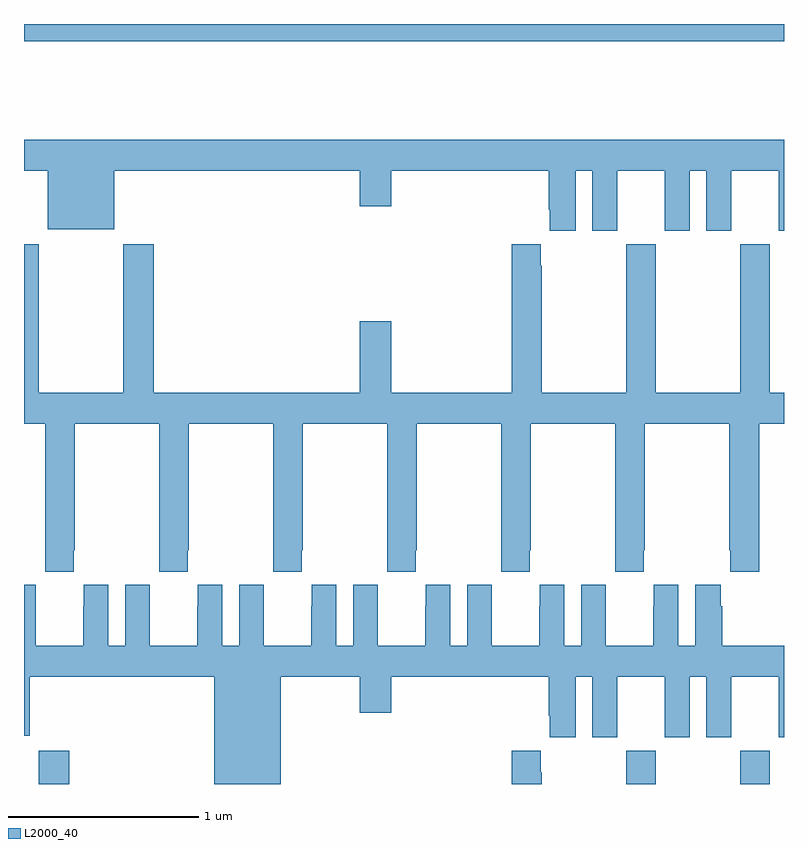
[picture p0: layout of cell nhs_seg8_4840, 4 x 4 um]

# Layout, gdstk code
import gdstk
lib = gdstk.Library(unit=1e-6, precision=1e-09)
def R(c, l, rs):  # rectangles x0, y0, x1, y1
    for r in rs: c.add(gdstk.rectangle(r[:2], r[2:], *l))
def P(c, l, *ps):  # polygons
    for p in ps: c.add(gdstk.Polygon(p, *l))
L2000_40 = (2000, 40)

nhs_seg8_4840 = lib.new_cell('nhs_seg8_4840')
R(nhs_seg8_4840, L2000_40, [(403.078,1151.9,403.238,1152.076), (406.171,1151.9,406.326,1152.076), (406.771,1151.9,406.926,1152.076), (403,1155.808,407,1155.9)])
P(nhs_seg8_4840, L2000_40, [(405.904,1155.128),(405.992,1155.128),(405.992,1154.811),(406.123,1154.811),(406.123,1155.128),(406.373,1155.128),(406.373,1154.811),(406.504,1154.811),(406.504,1155.128),(406.592,1155.128),(406.592,1154.811),(406.723,1154.811),(406.723,1155.128),(406.973,1155.128),(406.973,1154.811),(407,1154.811),(407,1155.292),(403,1155.292),(403,1155.128),(403.124,1155.128),(403.124,1154.819),(403.474,1154.819),(403.474,1155.128),(404.768,1155.128),(404.768,1154.94),(404.932,1154.94),(404.932,1155.128),(405.761,1155.128),(405.761,1154.923),(405.767,1154.923),(405.767,1154.811),(405.904,1154.811)],
  [(403.682,1154.74),(403.522,1154.74),(403.522,1153.96),(403.077,1153.96),(403.077,1154.74),(403,1154.74),(403,1153.796),(403.111,1153.796),(403.111,1153.129),(403.113,1153.129),(403.113,1153.017),(403.263,1153.017),(403.263,1153.129),(403.266,1153.129),(403.266,1153.796),(403.711,1153.796),(403.711,1153.129),(403.713,1153.129),(403.713,1153.017),(403.863,1153.017),(403.863,1153.129),(403.866,1153.129),(403.866,1153.796),(404.311,1153.796),(404.311,1153.129),(404.313,1153.129),(404.313,1153.017),(404.463,1153.017),(404.463,1153.129),(404.466,1153.129),(404.466,1153.796),(404.911,1153.796),(404.911,1153.129),(404.913,1153.129),(404.913,1153.017),(405.063,1153.017),(405.063,1153.129),(405.066,1153.129),(405.066,1153.796),(405.511,1153.796),(405.511,1153.129),(405.513,1153.129),(405.513,1153.017),(405.663,1153.017),(405.663,1153.129),(405.666,1153.129),(405.666,1153.796),(406.111,1153.796),(406.111,1153.129),(406.113,1153.129),(406.113,1153.017),(406.263,1153.017),(406.263,1153.129),(406.266,1153.129),(406.266,1153.796),(406.711,1153.796),(406.711,1153.129),(406.717,1153.129),(406.717,1153.017),(406.871,1153.017),(406.871,1153.796),(407,1153.796),(407,1153.96),(406.926,1153.96),(406.926,1154.74),(406.771,1154.74),(406.771,1153.96),(406.326,1153.96),(406.326,1154.74),(406.171,1154.74),(406.171,1153.96),(405.726,1153.96),(405.726,1154.627),(405.721,1154.627),(405.721,1154.74),(405.566,1154.74),(405.566,1153.96),(404.932,1153.96),(404.932,1154.335),(404.768,1154.335),(404.768,1153.96),(403.682,1153.96)],
  [(403.914,1152.949),(403.914,1152.836),(403.913,1152.836),(403.913,1152.628),(403.663,1152.628),(403.663,1152.836),(403.662,1152.836),(403.662,1152.949),(403.532,1152.949),(403.532,1152.628),(403.444,1152.628),(403.444,1152.949),(403.314,1152.949),(403.314,1152.836),(403.313,1152.836),(403.313,1152.628),(403.063,1152.628),(403.063,1152.836),(403.062,1152.836),(403.062,1152.949),(403,1152.949),(403,1152.155),(403.03,1152.155),(403.03,1152.464),(404,1152.464),(404,1151.9),(404.35,1151.9),(404.35,1152.464),(404.768,1152.464),(404.768,1152.276),(404.932,1152.276),(404.932,1152.464),(405.761,1152.464),(405.761,1152.259),(405.767,1152.259),(405.767,1152.147),(405.904,1152.147),(405.904,1152.464),(405.992,1152.464),(405.992,1152.147),(406.123,1152.147),(406.123,1152.464),(406.373,1152.464),(406.373,1152.147),(406.504,1152.147),(406.504,1152.464),(406.592,1152.464),(406.592,1152.147),(406.723,1152.147),(406.723,1152.464),(406.973,1152.464),(406.973,1152.147),(407,1152.147),(407,1152.628),(406.676,1152.628),(406.676,1152.836),(406.666,1152.836),(406.666,1152.949),(406.532,1152.949),(406.532,1152.628),(406.444,1152.628),(406.444,1152.949),(406.314,1152.949),(406.314,1152.836),(406.313,1152.836),(406.313,1152.628),(406.063,1152.628),(406.063,1152.836),(406.062,1152.836),(406.062,1152.949),(405.932,1152.949),(405.932,1152.628),(405.844,1152.628),(405.844,1152.949),(405.714,1152.949),(405.714,1152.836),(405.713,1152.836),(405.713,1152.628),(405.463,1152.628),(405.463,1152.836),(405.462,1152.836),(405.462,1152.949),(405.332,1152.949),(405.332,1152.628),(405.244,1152.628),(405.244,1152.949),(405.114,1152.949),(405.114,1152.836),(405.113,1152.836),(405.113,1152.628),(404.863,1152.628),(404.863,1152.836),(404.862,1152.836),(404.862,1152.949),(404.732,1152.949),(404.732,1152.628),(404.644,1152.628),(404.644,1152.949),(404.514,1152.949),(404.514,1152.836),(404.513,1152.836),(404.513,1152.628),(404.263,1152.628),(404.263,1152.836),(404.262,1152.836),(404.262,1152.949),(404.132,1152.949),(404.132,1152.628),(404.044,1152.628),(404.044,1152.949)],
  [(405.726,1151.963),(405.721,1151.963),(405.721,1152.076),(405.566,1152.076),(405.566,1151.9),(405.726,1151.9)])

lib.write_gds('nhs_seg8_4840.gds')
